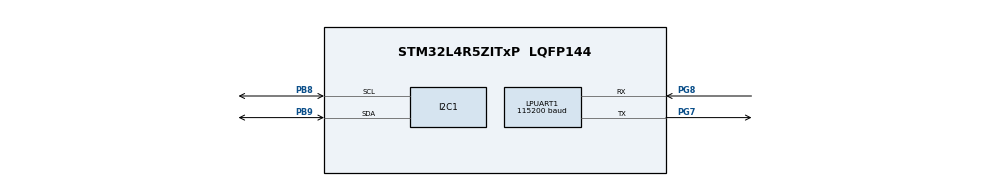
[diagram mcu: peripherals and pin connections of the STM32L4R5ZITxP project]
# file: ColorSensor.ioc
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LPUART1.BaudRate=115200
LPUART1.WordLength=UART_WORDLENGTH_8B
Mcu.Family=STM32L4
Mcu.Name=STM32L4R5ZITxP
Mcu.Package=LQFP144
NVIC.PriorityGroup=NVIC_PRIORITYGROUP_4
PA0.Signal=S_TIM2_CH1
PA1.Signal=ADCx_IN6
PA10.Signal=USB_OTG_FS_ID
PA13\ (JTMS/SWDIO).Signal=SYS_JTMS-SWDIO
PA14\ (JTCK/SWCLK).Signal=SYS_JTCK-SWCLK
PA3.Signal=ADCx_IN8
PA4.Signal=SPI1_NSS
PA5.Signal=SPI1_SCK
PA6.Signal=SPI1_MISO
PA7.Signal=SPI1_MOSI
PA8.Signal=USB_OTG_FS_SOF
PA9.Signal=USB_OTG_FS_VBUS
PB0.Signal=S_TIM3_CH3
PB1.Signal=ADCx_IN16
PB10.Signal=S_TIM2_CH3
PB12.Signal=SAI2_FS_A
PB13.Signal=SAI2_SCK_A
PB14.Signal=S_TIM15_CH1
PB15.Signal=SAI2_SD_A
PB2.Signal=COMP1_INP
PB3\ (JTDO/TRACESWO).Signal=SPI3_SCK
PB4\ (NJTRST).Signal=SPI3_MISO
PB5.Signal=SPI3_MOSI
PB6.Signal=COMP2_INP
PB8.Mode=I2C
PB8.Signal=I2C1_SCL
PB9.Mode=I2C
PB9.Signal=I2C1_SDA
PC0.Signal=ADCx_IN1
PC1.Signal=ADCx_IN2
PC10.Signal=SDMMC1_D2
PC11.Signal=SDMMC1_D3
PC12.Signal=SDMMC1_CK
PC13.Signal=SYS_WKUP2
PC14-OSC32_IN\ (PC14).Signal=RCC_OSC32_IN
PC15-OSC32_OUT\ (PC15).Signal=RCC_OSC32_OUT
PC2.Signal=ADCx_IN3
PC3.Signal=ADCx_IN4
PC4.Signal=ADCx_IN13
PC5.Signal=ADCx_IN14
PC6.Signal=SAI2_MCLK_A
PC7.Signal=S_TIM3_CH2
PC8.Signal=SDMMC1_D0
PC9.Signal=SDMMC1_D1
PD0.Signal=CAN1_RX
PD14.Signal=S_TIM4_CH3
PD15.Signal=S_TIM4_CH4
PD2.Signal=SDMMC1_CMD
PD3.Signal=USART2_CTS
PD4.Signal=USART2_RTS
PD5.Signal=USART2_TX
PD6.Signal=USART2_RX
PD8.Signal=USART3_TX
PD9.Signal=USART3_RX
PE0.Signal=S_TIM4_ETR
PE10.Signal=TIM1_CH2N
PE11.Signal=S_TIM1_CH2
PE12.Signal=TIM1_CH3N
PE13.Signal=S_TIM1_CH3
PE14.Signal=TIM1_BKIN2
PE15.Signal=TIM1_BKIN
PE2.Signal=SAI1_MCLK_A
PE3.Signal=SAI1_SD_B
PE7.Signal=S_TIM1_ETR
PE8.Signal=TIM1_CH1N
PE9.Signal=S_TIM1_CH1
PF0.Signal=I2C2_SDA
PF1.Signal=I2C2_SCL
PF2.Signal=I2C2_SMBA
PF7.Signal=SAI1_MCLK_B
PG7.Mode=Asynchronous
PG7.Signal=LPUART1_TX
PG8.Mode=Asynchronous
PG8.Signal=LPUART1_RX
PH0-OSC_IN\ (PH0).Signal=RCC_OSC_IN
PH1-OSC_OUT\ (PH1).Signal=RCC_OSC_OUT
ProjectManager.HeapSize=0x200
ProjectManager.StackSize=0x400
ProjectManager.TargetToolchain=STM32CubeIDE
RCC.HSE_VALUE=8000000
RCC.HSI48_VALUE=48000000
RCC.HSI_VALUE=16000000
RCC.LSE_VALUE=32768
RCC.MSI_VALUE=4000000
RCC.VCOOutputFreq_Value=32000000
SH.ADCx_IN1.0=ADC1_IN1
SH.ADCx_IN13.0=ADC1_IN13
SH.ADCx_IN14.0=ADC1_IN14
SH.ADCx_IN16.0=ADC1_IN16
SH.ADCx_IN2.0=ADC1_IN2
SH.ADCx_IN3.0=ADC1_IN3
SH.ADCx_IN4.0=ADC1_IN4
SH.ADCx_IN6.0=ADC1_IN6
SH.ADCx_IN8.0=ADC1_IN8
SH.S_TIM15_CH1.0=TIM15_CH1
SH.S_TIM1_CH1.0=TIM1_CH1
SH.S_TIM1_CH2.0=TIM1_CH2
SH.S_TIM1_CH3.0=TIM1_CH3
SH.S_TIM1_ETR.0=TIM1_ETR
SH.S_TIM2_CH1.0=TIM2_CH1
SH.S_TIM2_CH3.0=TIM2_CH3
SH.S_TIM3_CH2.0=TIM3_CH2
SH.S_TIM3_CH3.0=TIM3_CH3
SH.S_TIM4_CH3.0=TIM4_CH3
SH.S_TIM4_CH4.0=TIM4_CH4
SH.S_TIM4_ETR.0=TIM4_ETR
board=NUCLEO-L4R5ZI-P

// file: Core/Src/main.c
/* USER CODE BEGIN Header */
/**
  ******************************************************************************
  * @file           : main.c
  * @brief          : Main program body
  ******************************************************************************
  * @attention
  *
  * Copyright (c) 2024 STMicroelectronics.
  * All rights reserved.
  *
  * This software is licensed under terms that can be found in the LICENSE file
  * in the root directory of this software component.
  * If no LICENSE file comes with this software, it is provided AS-IS.
  *
  ******************************************************************************
  */
/* USER CODE END Header */
#include "main.h"
#include "stdio.h"

I2C_HandleTypeDef hi2c1;

UART_HandleTypeDef hlpuart1;

void SystemClock_Config(void);
static void MX_GPIO_Init(void);
static void MX_I2C1_Init(void);
static void MX_LPUART1_UART_Init(void);

int main(void)
{

  /* MCU Configuration--------------------------------------------------------*/

  /* Reset of all peripherals, Initializes the Flash interface and the Systick. */
  HAL_Init();

  /* Configure the system clock */
  SystemClock_Config();

  /* Initialize all configured peripherals */
  MX_GPIO_Init();
  MX_I2C1_Init();
  MX_LPUART1_UART_Init();

  /* Infinite loop */
  /* USER CODE BEGIN WHILE */

  uint8_t addr = 0x29;
  uint8_t write_addr = addr << 1;
  uint8_t read_addr = (addr << 1) | 1;

  // Initialize device (Page 15 of datasheet)
  // ( OR 0b10100000 is required for write commands, see Page 14 of datasheet)
  uint8_t init1[] = {0x00 | 0b10100000, 0b000000001 };
  uint8_t init2[] = {0x00 | 0b10100000, 0b000000011 };
  uint8_t init3[] = {0x01 | 0b10100000, 0xFF };
  uint8_t init4[] = {0x0F | 0b10100000, 0b11};

  // First write enables PON
  HAL_I2C_Master_Transmit(&hi2c1, write_addr, init1, 2, 1000);
  HAL_Delay(10);
  // Second write enables RGBC
  HAL_I2C_Master_Transmit(&hi2c1, write_addr, init2, 2, 1000);
  HAL_Delay(10);
  // Third write to set timing to 24 ms
  HAL_I2C_Master_Transmit(&hi2c1, write_addr, init3, 2, 1000);
  // Fourth write to set gain to x60
  HAL_I2C_Master_Transmit(&hi2c1, write_addr, init4, 2, 1000);

  while (1)
  {

	  // Write to clear_low so we can read it next
	  uint8_t clear_low = 0x14 | 0b10100000;
	  HAL_I2C_Master_Transmit(&hi2c1, write_addr, &clear_low, 1, 1000);
	  HAL_Delay(5);

	  uint8_t read_vals[8] = {};

	  HAL_I2C_Master_Receive(&hi2c1, read_addr, read_vals, 8, 1000);
	  HAL_Delay(5);

//	  for(int i = 0; i < 8; i++) {
//		  printf("%d ", read_vals[i]);
//	  } printf("\n");

	  uint16_t* vals = (uint16_t*) read_vals;
	  uint16_t clear_val = vals[0];
	  uint16_t r_val = vals[1];
	  uint16_t g_val = vals[2];
	  uint16_t b_val = vals[3];

	  printf("clear: %hu, red: %hu, green: %hu, blue: %hu\n", clear_val, r_val, g_val, b_val);

    /* USER CODE END WHILE */

  }
}

void SystemClock_Config(void)
{
  RCC_OscInitTypeDef RCC_OscInitStruct = {0};
  RCC_ClkInitTypeDef RCC_ClkInitStruct = {0};

  /** Configure the main internal regulator output voltage
  */
  if (HAL_PWREx_ControlVoltageScaling(PWR_REGULATOR_VOLTAGE_SCALE1) != HAL_OK)
  {
    Error_Handler();
  }

  /** Initializes the RCC Oscillators according to the specified parameters
  * in the RCC_OscInitTypeDef structure.
  */
  RCC_OscInitStruct.OscillatorType = RCC_OSCILLATORTYPE_MSI;
  RCC_OscInitStruct.MSIState = RCC_MSI_ON;
  RCC_OscInitStruct.MSICalibrationValue = 0;
  RCC_OscInitStruct.MSIClockRange = RCC_MSIRANGE_6;
  RCC_OscInitStruct.PLL.PLLState = RCC_PLL_NONE;
  if (HAL_RCC_OscConfig(&RCC_OscInitStruct) != HAL_OK)
  {
    Error_Handler();
  }

  /** Initializes the CPU, AHB and APB buses clocks
  */
  RCC_ClkInitStruct.ClockType = RCC_CLOCKTYPE_HCLK|RCC_CLOCKTYPE_SYSCLK
                              |RCC_CLOCKTYPE_PCLK1|RCC_CLOCKTYPE_PCLK2;
  RCC_ClkInitStruct.SYSCLKSource = RCC_SYSCLKSOURCE_MSI;
  RCC_ClkInitStruct.AHBCLKDivider = RCC_SYSCLK_DIV1;
  RCC_ClkInitStruct.APB1CLKDivider = RCC_HCLK_DIV1;
  RCC_ClkInitStruct.APB2CLKDivider = RCC_HCLK_DIV1;

  if (HAL_RCC_ClockConfig(&RCC_ClkInitStruct, FLASH_LATENCY_0) != HAL_OK)
  {
    Error_Handler();
  }
}

static void MX_I2C1_Init(void)
{

  hi2c1.Instance = I2C1;
  hi2c1.Init.Timing = 0x00000E14;
  hi2c1.Init.OwnAddress1 = 0;
  hi2c1.Init.AddressingMode = I2C_ADDRESSINGMODE_7BIT;
  hi2c1.Init.DualAddressMode = I2C_DUALADDRESS_DISABLE;
  hi2c1.Init.OwnAddress2 = 0;
  hi2c1.Init.OwnAddress2Masks = I2C_OA2_NOMASK;
  hi2c1.Init.GeneralCallMode = I2C_GENERALCALL_DISABLE;
  hi2c1.Init.NoStretchMode = I2C_NOSTRETCH_DISABLE;
  if (HAL_I2C_Init(&hi2c1) != HAL_OK)
  {
    Error_Handler();
  }

  /** Configure Analogue filter
  */
  if (HAL_I2CEx_ConfigAnalogFilter(&hi2c1, I2C_ANALOGFILTER_ENABLE) != HAL_OK)
  {
    Error_Handler();
  }

  /** Configure Digital filter
  */
  if (HAL_I2CEx_ConfigDigitalFilter(&hi2c1, 0) != HAL_OK)
  {
    Error_Handler();
  }

}

static void MX_LPUART1_UART_Init(void)
{

  hlpuart1.Instance = LPUART1;
  hlpuart1.Init.BaudRate = 115200;
  hlpuart1.Init.WordLength = UART_WORDLENGTH_8B;
  hlpuart1.Init.StopBits = UART_STOPBITS_1;
  hlpuart1.Init.Parity = UART_PARITY_NONE;
  hlpuart1.Init.Mode = UART_MODE_TX_RX;
  hlpuart1.Init.HwFlowCtl = UART_HWCONTROL_NONE;
  hlpuart1.Init.OneBitSampling = UART_ONE_BIT_SAMPLE_DISABLE;
  hlpuart1.Init.ClockPrescaler = UART_PRESCALER_DIV1;
  hlpuart1.AdvancedInit.AdvFeatureInit = UART_ADVFEATURE_NO_INIT;
  hlpuart1.FifoMode = UART_FIFOMODE_DISABLE;
  if (HAL_UART_Init(&hlpuart1) != HAL_OK)
  {
    Error_Handler();
  }
  if (HAL_UARTEx_SetTxFifoThreshold(&hlpuart1, UART_TXFIFO_THRESHOLD_1_8) != HAL_OK)
  {
    Error_Handler();
  }
  if (HAL_UARTEx_SetRxFifoThreshold(&hlpuart1, UART_RXFIFO_THRESHOLD_1_8) != HAL_OK)
  {
    Error_Handler();
  }
  if (HAL_UARTEx_DisableFifoMode(&hlpuart1) != HAL_OK)
  {
    Error_Handler();
  }

}

static void MX_GPIO_Init(void)
{
  GPIO_InitTypeDef GPIO_InitStruct = {0};

  /* GPIO Ports Clock Enable */
  __HAL_RCC_GPIOE_CLK_ENABLE();
  __HAL_RCC_GPIOC_CLK_ENABLE();
  __HAL_RCC_GPIOF_CLK_ENABLE();
  __HAL_RCC_GPIOH_CLK_ENABLE();
  __HAL_RCC_GPIOA_CLK_ENABLE();
  __HAL_RCC_GPIOB_CLK_ENABLE();
  __HAL_RCC_GPIOD_CLK_ENABLE();
  __HAL_RCC_GPIOG_CLK_ENABLE();
  HAL_PWREx_EnableVddIO2();

  /*Configure GPIO pins : PE2 PE3 */
  GPIO_InitStruct.Pin = GPIO_PIN_2|GPIO_PIN_3;
  GPIO_InitStruct.Mode = GPIO_MODE_AF_PP;
  GPIO_InitStruct.Pull = GPIO_NOPULL;
  GPIO_InitStruct.Speed = GPIO_SPEED_FREQ_LOW;
  GPIO_InitStruct.Alternate = GPIO_AF13_SAI1;
  HAL_GPIO_Init(GPIOE, &GPIO_InitStruct);

  /*Configure GPIO pins : PF0 PF1 PF2 */
  GPIO_InitStruct.Pin = GPIO_PIN_0|GPIO_PIN_1|GPIO_PIN_2;
  GPIO_InitStruct.Mode = GPIO_MODE_AF_OD;
  GPIO_InitStruct.Pull = GPIO_NOPULL;
  GPIO_InitStruct.Speed = GPIO_SPEED_FREQ_VERY_HIGH;
  GPIO_InitStruct.Alternate = GPIO_AF4_I2C2;
  HAL_GPIO_Init(GPIOF, &GPIO_InitStruct);

  /*Configure GPIO pin : PF7 */
  GPIO_InitStruct.Pin = GPIO_PIN_7;
  GPIO_InitStruct.Mode = GPIO_MODE_AF_PP;
  GPIO_InitStruct.Pull = GPIO_NOPULL;
  GPIO_InitStruct.Speed = GPIO_SPEED_FREQ_LOW;
  GPIO_InitStruct.Alternate = GPIO_AF13_SAI1;
  HAL_GPIO_Init(GPIOF, &GPIO_InitStruct);

  /*Configure GPIO pins : PC0 PC1 PC2 PC3
                           PC4 PC5 */
  GPIO_InitStruct.Pin = GPIO_PIN_0|GPIO_PIN_1|GPIO_PIN_2|GPIO_PIN_3
                          |GPIO_PIN_4|GPIO_PIN_5;
  GPIO_InitStruct.Mode = GPIO_MODE_ANALOG_ADC_CONTROL;
  GPIO_InitStruct.Pull = GPIO_NOPULL;
  HAL_GPIO_Init(GPIOC, &GPIO_InitStruct);

  /*Configure GPIO pin : PA0 */
  GPIO_InitStruct.Pin = GPIO_PIN_0;
  GPIO_InitStruct.Mode = GPIO_MODE_AF_PP;
  GPIO_InitStruct.Pull = GPIO_NOPULL;
  GPIO_InitStruct.Speed = GPIO_SPEED_FREQ_LOW;
  GPIO_InitStruct.Alternate = GPIO_AF1_TIM2;
  HAL_GPIO_Init(GPIOA, &GPIO_InitStruct);

  /*Configure GPIO pins : PA1 PA3 */
  GPIO_InitStruct.Pin = GPIO_PIN_1|GPIO_PIN_3;
  GPIO_InitStruct.Mode = GPIO_MODE_ANALOG_ADC_CONTROL;
  GPIO_InitStruct.Pull = GPIO_NOPULL;
  HAL_GPIO_Init(GPIOA, &GPIO_InitStruct);

  /*Configure GPIO pins : PA4 PA5 PA6 PA7 */
  GPIO_InitStruct.Pin = GPIO_PIN_4|GPIO_PIN_5|GPIO_PIN_6|GPIO_PIN_7;
  GPIO_InitStruct.Mode = GPIO_MODE_AF_PP;
  GPIO_InitStruct.Pull = GPIO_NOPULL;
  GPIO_InitStruct.Speed = GPIO_SPEED_FREQ_VERY_HIGH;
  GPIO_InitStruct.Alternate = GPIO_AF5_SPI1;
  HAL_GPIO_Init(GPIOA, &GPIO_InitStruct);

  /*Configure GPIO pin : PB0 */
  GPIO_InitStruct.Pin = GPIO_PIN_0;
  GPIO_InitStruct.Mode = GPIO_MODE_AF_PP;
  GPIO_InitStruct.Pull = GPIO_NOPULL;
  GPIO_InitStruct.Speed = GPIO_SPEED_FREQ_LOW;
  GPIO_InitStruct.Alternate = GPIO_AF2_TIM3;
  HAL_GPIO_Init(GPIOB, &GPIO_InitStruct);

  /*Configure GPIO pin : PB1 */
  GPIO_InitStruct.Pin = GPIO_PIN_1;
  GPIO_InitStruct.Mode = GPIO_MODE_ANALOG_ADC_CONTROL;
  GPIO_InitStruct.Pull = GPIO_NOPULL;
  HAL_GPIO_Init(GPIOB, &GPIO_InitStruct);

  /*Configure GPIO pins : PB2 PB6 */
  GPIO_InitStruct.Pin = GPIO_PIN_2|GPIO_PIN_6;
  GPIO_InitStruct.Mode = GPIO_MODE_ANALOG;
  GPIO_InitStruct.Pull = GPIO_NOPULL;
  HAL_GPIO_Init(GPIOB, &GPIO_InitStruct);

  /*Configure GPIO pins : PE7 PE8 PE9 PE10
                           PE11 PE12 PE13 */
  GPIO_InitStruct.Pin = GPIO_PIN_7|GPIO_PIN_8|GPIO_PIN_9|GPIO_PIN_10
                          |GPIO_PIN_11|GPIO_PIN_12|GPIO_PIN_13;
  GPIO_InitStruct.Mode = GPIO_MODE_AF_PP;
  GPIO_InitStruct.Pull = GPIO_NOPULL;
  GPIO_InitStruct.Speed = GPIO_SPEED_FREQ_LOW;
  GPIO_InitStruct.Alternate = GPIO_AF1_TIM1;
  HAL_GPIO_Init(GPIOE, &GPIO_InitStruct);

  /*Configure GPIO pins : PE14 PE15 */
  GPIO_InitStruct.Pin = GPIO_PIN_14|GPIO_PIN_15;
  GPIO_InitStruct.Mode = GPIO_MODE_AF_PP;
  GPIO_InitStruct.Pull = GPIO_NOPULL;
  GPIO_InitStruct.Speed = GPIO_SPEED_FREQ_LOW;
  GPIO_InitStruct.Alternate = GPIO_AF3_TIM1_COMP1;
  HAL_GPIO_Init(GPIOE, &GPIO_InitStruct);

  /*Configure GPIO pin : PB10 */
  GPIO_InitStruct.Pin = GPIO_PIN_10;
  GPIO_InitStruct.Mode = GPIO_MODE_AF_PP;
  GPIO_InitStruct.Pull = GPIO_NOPULL;
  GPIO_InitStruct.Speed = GPIO_SPEED_FREQ_LOW;
  GPIO_InitStruct.Alternate = GPIO_AF1_TIM2;
  HAL_GPIO_Init(GPIOB, &GPIO_InitStruct);

  /*Configure GPIO pins : PB12 PB13 PB15 */
  GPIO_InitStruct.Pin = GPIO_PIN_12|GPIO_PIN_13|GPIO_PIN_15;
  GPIO_InitStruct.Mode = GPIO_MODE_AF_PP;
  GPIO_InitStruct.Pull = GPIO_NOPULL;
  GPIO_InitStruct.Speed = GPIO_SPEED_FREQ_LOW;
  GPIO_InitStruct.Alternate = GPIO_AF13_SAI2;
  HAL_GPIO_Init(GPIOB, &GPIO_InitStruct);

  /*Configure GPIO pin : PB14 */
  GPIO_InitStruct.Pin = GPIO_PIN_14;
  GPIO_InitStruct.Mode = GPIO_MODE_AF_PP;
  GPIO_InitStruct.Pull = GPIO_NOPULL;
  GPIO_InitStruct.Speed = GPIO_SPEED_FREQ_LOW;
  GPIO_InitStruct.Alternate = GPIO_AF14_TIM15;
  HAL_GPIO_Init(GPIOB, &GPIO_InitStruct);

  /*Configure GPIO pins : PD8 PD9 */
  GPIO_InitStruct.Pin = GPIO_PIN_8|GPIO_PIN_9;
  GPIO_InitStruct.Mode = GPIO_MODE_AF_PP;
  GPIO_InitStruct.Pull = GPIO_NOPULL;
  GPIO_InitStruct.Speed = GPIO_SPEED_FREQ_VERY_HIGH;
  GPIO_InitStruct.Alternate = GPIO_AF7_USART3;
  HAL_GPIO_Init(GPIOD, &GPIO_InitStruct);

  /*Configure GPIO pins : PD14 PD15 */
  GPIO_InitStruct.Pin = GPIO_PIN_14|GPIO_PIN_15;
  GPIO_InitStruct.Mode = GPIO_MODE_AF_PP;
  GPIO_InitStruct.Pull = GPIO_NOPULL;
  GPIO_InitStruct.Speed = GPIO_SPEED_FREQ_LOW;
  GPIO_InitStruct.Alternate = GPIO_AF2_TIM4;
  HAL_GPIO_Init(GPIOD, &GPIO_InitStruct);

  /*Configure GPIO pin : PC6 */
  GPIO_InitStruct.Pin = GPIO_PIN_6;
  GPIO_InitStruct.Mode = GPIO_MODE_AF_PP;
  GPIO_InitStruct.Pull = GPIO_NOPULL;
  GPIO_InitStruct.Speed = GPIO_SPEED_FREQ_LOW;
  GPIO_InitStruct.Alternate = GPIO_AF13_SAI2;
  HAL_GPIO_Init(GPIOC, &GPIO_InitStruct);

  /*Configure GPIO pin : PC7 */
  GPIO_InitStruct.Pin = GPIO_PIN_7;
  GPIO_InitStruct.Mode = GPIO_MODE_AF_PP;
  GPIO_InitStruct.Pull = GPIO_NOPULL;
  GPIO_InitStruct.Speed = GPIO_SPEED_FREQ_LOW;
  GPIO_InitStruct.Alternate = GPIO_AF2_TIM3;
  HAL_GPIO_Init(GPIOC, &GPIO_InitStruct);

  /*Configure GPIO pins : PC8 PC9 PC10 PC11
                           PC12 */
  GPIO_InitStruct.Pin = GPIO_PIN_8|GPIO_PIN_9|GPIO_PIN_10|GPIO_PIN_11
                          |GPIO_PIN_12;
  GPIO_InitStruct.Mode = GPIO_MODE_AF_PP;
  GPIO_InitStruct.Pull = GPIO_NOPULL;
  GPIO_InitStruct.Speed = GPIO_SPEED_FREQ_VERY_HIGH;
  GPIO_InitStruct.Alternate = GPIO_AF12_SDMMC1;
  HAL_GPIO_Init(GPIOC, &GPIO_InitStruct);

  /*Configure GPIO pins : PA8 PA10 */
  GPIO_InitStruct.Pin = GPIO_PIN_8|GPIO_PIN_10;
  GPIO_InitStruct.Mode = GPIO_MODE_AF_PP;
  GPIO_InitStruct.Pull = GPIO_NOPULL;
  GPIO_InitStruct.Speed = GPIO_SPEED_FREQ_VERY_HIGH;
  GPIO_InitStruct.Alternate = GPIO_AF10_OTG_FS;
  HAL_GPIO_Init(GPIOA, &GPIO_InitStruct);

  /*Configure GPIO pin : PA9 */
  GPIO_InitStruct.Pin = GPIO_PIN_9;
  GPIO_InitStruct.Mode = GPIO_MODE_INPUT;
  GPIO_InitStruct.Pull = GPIO_NOPULL;
  HAL_GPIO_Init(GPIOA, &GPIO_InitStruct);

  /*Configure GPIO pin : PD0 */
  GPIO_InitStruct.Pin = GPIO_PIN_0;
  GPIO_InitStruct.Mode = GPIO_MODE_AF_PP;
  GPIO_InitStruct.Pull = GPIO_NOPULL;
  GPIO_InitStruct.Speed = GPIO_SPEED_FREQ_VERY_HIGH;
  GPIO_InitStruct.Alternate = GPIO_AF9_CAN1;
  HAL_GPIO_Init(GPIOD, &GPIO_InitStruct);

  /*Configure GPIO pin : PD2 */
  GPIO_InitStruct.Pin = GPIO_PIN_2;
  GPIO_InitStruct.Mode = GPIO_MODE_AF_PP;
  GPIO_InitStruct.Pull = GPIO_NOPULL;
  GPIO_InitStruct.Speed = GPIO_SPEED_FREQ_VERY_HIGH;
  GPIO_InitStruct.Alternate = GPIO_AF12_SDMMC1;
  HAL_GPIO_Init(GPIOD, &GPIO_InitStruct);

  /*Configure GPIO pins : PD3 PD4 PD5 PD6 */
  GPIO_InitStruct.Pin = GPIO_PIN_3|GPIO_PIN_4|GPIO_PIN_5|GPIO_PIN_6;
  GPIO_InitStruct.Mode = GPIO_MODE_AF_PP;
  GPIO_InitStruct.Pull = GPIO_NOPULL;
  GPIO_InitStruct.Speed = GPIO_SPEED_FREQ_VERY_HIGH;
  GPIO_InitStruct.Alternate = GPIO_AF7_USART2;
  HAL_GPIO_Init(GPIOD, &GPIO_InitStruct);

  /*Configure GPIO pins : PB3 PB4 PB5 */
  GPIO_InitStruct.Pin = GPIO_PIN_3|GPIO_PIN_4|GPIO_PIN_5;
  GPIO_InitStruct.Mode = GPIO_MODE_AF_PP;
  GPIO_InitStruct.Pull = GPIO_NOPULL;
  GPIO_InitStruct.Speed = GPIO_SPEED_FREQ_VERY_HIGH;
  GPIO_InitStruct.Alternate = GPIO_AF6_SPI3;
  HAL_GPIO_Init(GPIOB, &GPIO_InitStruct);

  /*Configure GPIO pin : PE0 */
  GPIO_InitStruct.Pin = GPIO_PIN_0;
  GPIO_InitStruct.Mode = GPIO_MODE_AF_PP;
  GPIO_InitStruct.Pull = GPIO_NOPULL;
  GPIO_InitStruct.Speed = GPIO_SPEED_FREQ_LOW;
  GPIO_InitStruct.Alternate = GPIO_AF2_TIM4;
  HAL_GPIO_Init(GPIOE, &GPIO_InitStruct);

}

/* USER CODE BEGIN 4 */

#ifdef __GNUC__
#define PUTCHAR_PROTOTYPE int __io_putchar(int ch)
#else
  #define PUTCHAR_PROTOTYPE int fputc(int ch, FILE *f)
#endif /* __GNUC__ */
PUTCHAR_PROTOTYPE
{
  HAL_UART_Transmit(&hlpuart1, (uint8_t *)&ch, 1, 0xFFFF);
  return ch;
}

/* USER CODE END 4 */

void Error_Handler(void)
{
  __disable_irq();
  while (1)
  {
  }
}
